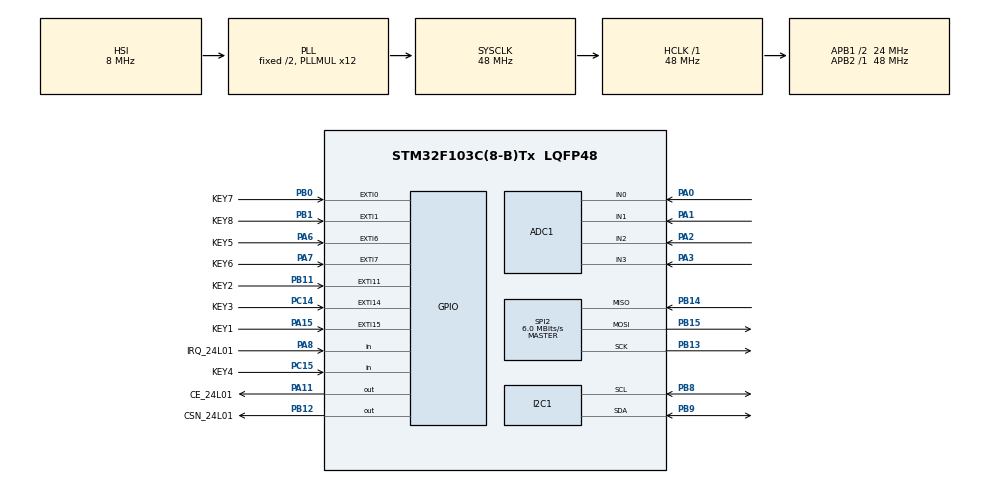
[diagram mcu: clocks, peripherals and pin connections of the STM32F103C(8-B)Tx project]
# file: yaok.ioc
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ADC1.Channel-0\#ChannelRegularConversion=ADC_CHANNEL_0
ADC1.Channel-2\#ChannelRegularConversion=ADC_CHANNEL_1
ADC1.Channel-3\#ChannelRegularConversion=ADC_CHANNEL_2
ADC1.Channel-4\#ChannelRegularConversion=ADC_CHANNEL_3
ADC1.ContinuousConvMode=ENABLE
ADC1.ExternalTrigConv=ADC_SOFTWARE_START
ADC1.NbrOfConversion=4
ADC1.NbrOfConversionFlag=1
ADC1.Rank-0\#ChannelRegularConversion=1
ADC1.Rank-2\#ChannelRegularConversion=2
ADC1.Rank-3\#ChannelRegularConversion=3
ADC1.Rank-4\#ChannelRegularConversion=4
ADC1.SamplingTime-0\#ChannelRegularConversion=ADC_SAMPLETIME_239CYCLES_5
ADC1.SamplingTime-2\#ChannelRegularConversion=ADC_SAMPLETIME_239CYCLES_5
ADC1.SamplingTime-3\#ChannelRegularConversion=ADC_SAMPLETIME_239CYCLES_5
ADC1.SamplingTime-4\#ChannelRegularConversion=ADC_SAMPLETIME_239CYCLES_5
ADC1.master=1
Dma.ADC1.0.Direction=DMA_PERIPH_TO_MEMORY
Dma.ADC1.0.Instance=DMA1_Channel1
Dma.ADC1.0.MemDataAlignment=DMA_MDATAALIGN_HALFWORD
Dma.ADC1.0.MemInc=DMA_MINC_ENABLE
Dma.ADC1.0.Mode=DMA_CIRCULAR
Dma.ADC1.0.PeriphDataAlignment=DMA_PDATAALIGN_HALFWORD
Dma.ADC1.0.PeriphInc=DMA_PINC_DISABLE
Dma.ADC1.0.Priority=DMA_PRIORITY_LOW
Dma.Request0=ADC1
Mcu.Family=STM32F1
Mcu.Name=STM32F103C(8-B)Tx
Mcu.Package=LQFP48
NVIC.DMA1_Channel1_IRQn=true\:0\:0\:false\:false\:true\:false\:true\:true
NVIC.EXTI0_IRQn=true\:0\:0\:false\:false\:true\:true\:true\:true
NVIC.EXTI15_10_IRQn=true\:0\:0\:false\:false\:true\:true\:true\:true
NVIC.EXTI1_IRQn=true\:0\:0\:false\:false\:true\:true\:true\:true
NVIC.EXTI9_5_IRQn=true\:0\:0\:false\:false\:true\:true\:true\:true
NVIC.PriorityGroup=NVIC_PRIORITYGROUP_4
PA0-WKUP.Signal=ADCx_IN0
PA1.Signal=ADCx_IN1
PA11.GPIO_Label=CE_24L01
PA11.GPIO_Speed=GPIO_SPEED_FREQ_HIGH
PA11.PinState=GPIO_PIN_RESET
PA11.Signal=GPIO_Output
PA13.Mode=Serial_Wire
PA13.Signal=SYS_JTMS-SWDIO
PA14.Mode=Serial_Wire
PA14.Signal=SYS_JTCK-SWCLK
PA15.GPIO_Label=KEY1
PA15.GPIO_ModeDefaultEXTI=GPIO_MODE_IT_FALLING
PA15.GPIO_PuPd=GPIO_PULLUP
PA15.Signal=GPXTI15
PA2.Signal=ADCx_IN2
PA3.Signal=ADCx_IN3
PA6.GPIO_Label=KEY5
PA6.GPIO_ModeDefaultEXTI=GPIO_MODE_IT_FALLING
PA6.GPIO_PuPd=GPIO_PULLUP
PA6.Signal=GPXTI6
PA7.GPIO_Label=KEY6
PA7.GPIO_ModeDefaultEXTI=GPIO_MODE_IT_FALLING
PA7.GPIO_PuPd=GPIO_PULLUP
PA7.Signal=GPXTI7
PA8.GPIO_Label=IRQ_24L01
PA8.GPIO_PuPd=GPIO_PULLUP
PA8.Signal=GPIO_Input
PB0.GPIO_Label=KEY7
PB0.GPIO_ModeDefaultEXTI=GPIO_MODE_IT_FALLING
PB0.GPIO_PuPd=GPIO_PULLUP
PB0.Signal=GPXTI0
PB1.GPIO_Label=KEY8
PB1.GPIO_ModeDefaultEXTI=GPIO_MODE_IT_FALLING
PB1.GPIO_PuPd=GPIO_PULLUP
PB1.Signal=GPXTI1
PB11.GPIO_Label=KEY2
PB11.GPIO_ModeDefaultEXTI=GPIO_MODE_IT_FALLING
PB11.GPIO_PuPd=GPIO_PULLUP
PB11.Signal=GPXTI11
PB12.GPIO_Label=CSN_24L01
PB12.GPIO_Speed=GPIO_SPEED_FREQ_HIGH
PB12.PinState=GPIO_PIN_SET
PB12.Signal=GPIO_Output
PB13.Mode=Full_Duplex_Master
PB13.Signal=SPI2_SCK
PB14.Mode=Full_Duplex_Master
PB14.Signal=SPI2_MISO
PB15.Mode=Full_Duplex_Master
PB15.Signal=SPI2_MOSI
PB8.Mode=I2C
PB8.Signal=I2C1_SCL
PB9.Mode=I2C
PB9.Signal=I2C1_SDA
PC14-OSC32_IN.GPIO_Label=KEY3
PC14-OSC32_IN.GPIO_ModeDefaultEXTI=GPIO_MODE_IT_FALLING
PC14-OSC32_IN.GPIO_PuPd=GPIO_PULLUP
PC14-OSC32_IN.Signal=GPXTI14
PC15-OSC32_OUT.GPIO_Label=KEY4
PC15-OSC32_OUT.GPIO_PuPd=GPIO_PULLUP
PC15-OSC32_OUT.Signal=GPIO_Input
PD0-OSC_IN.Mode=HSE-External-Clock-Source
PD0-OSC_IN.Signal=RCC_OSC_IN
PD1-OSC_OUT.Mode=HSE-External-Clock-Source
PD1-OSC_OUT.Signal=RCC_OSC_OUT
ProjectManager.HeapSize=0x800
ProjectManager.StackSize=0x800
ProjectManager.TargetToolchain=MDK-ARM V5.32
RCC.ADCPresc=RCC_ADCPCLK2_DIV4
RCC.AHBFreq_Value=48000000
RCC.APB1CLKDivider=RCC_HCLK_DIV2
RCC.APB1Freq_Value=24000000
RCC.APB1TimFreq_Value=48000000
RCC.APB2Freq_Value=48000000
RCC.APB2TimFreq_Value=48000000
RCC.HCLKFreq_Value=48000000
RCC.PLLMUL=RCC_PLL_MUL12
RCC.SYSCLKFreq_VALUE=48000000
RCC.SYSCLKSource=RCC_SYSCLKSOURCE_PLLCLK
RCC.USBFreq_Value=48000000
SH.ADCx_IN0.0=ADC1_IN0,IN0
SH.ADCx_IN1.0=ADC1_IN1,IN1
SH.ADCx_IN2.0=ADC1_IN2,IN2
SH.ADCx_IN3.0=ADC1_IN3,IN3
SPI2.BaudRatePrescaler=SPI_BAUDRATEPRESCALER_4
SPI2.CalculateBaudRate=6.0 MBits/s
SPI2.Direction=SPI_DIRECTION_2LINES
SPI2.Mode=SPI_MODE_MASTER
SPI2.VirtualType=VM_MASTER
board=custom

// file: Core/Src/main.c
/* USER CODE BEGIN Header */
/**
  ******************************************************************************
  * @file           : main.c
  * @brief          : Main program body
  ******************************************************************************
  * @attention
  *
  * Copyright (c) 2024 STMicroelectronics.
  * All rights reserved.
  *
  * This software is licensed under terms that can be found in the LICENSE file
  * in the root directory of this software component.
  * If no LICENSE file comes with this software, it is provided AS-IS.
  *
  ******************************************************************************
  */
/* USER CODE END Header */
#include "main.h"
#include "adc.h"
#include "dma.h"
#include "i2c.h"
#include "spi.h"
#include "gpio.h"

/* USER CODE BEGIN Includes */
#include "oled.h"
#include "NF.h"
#include "math.h"
#define PI 3.14159265
/* USER CODE END Includes */

/* USER CODE BEGIN PV */
 uint16_t ADC_Value;
    uint16_t  adc_buff[4];
/* USER CODE END PV */

void SystemClock_Config(void);
/* USER CODE BEGIN PFP */
extern unsigned char INIT_ADDR[5]= {0x00,0x1A,0xB1,0xB1,0x01}; //�ڵ��ַ
/* USER CODE END PFP */

/* USER CODE BEGIN 0 */
       int k=1;
int c=1;
int key3=0;
int key1=32;//配置按键8按下进行下一步操作
int key8=32;//配置按键8按下进行下一步操作
int key5=0;
int key7=0;
int key2=0;
int key4=0;
uint8_t array[40] ; //第一位接收不到
int yaw1=0;
int yaw2=0;
int key6=0, key6_stuas=0;
float yaw=0;

/* USER CODE END 0 */

int main(void)
{

  /* MCU Configuration--------------------------------------------------------*/

  /* Reset of all peripherals, Initializes the Flash interface and the Systick. */
  HAL_Init();

  /* Configure the system clock */
  SystemClock_Config();

  /* Initialize all configured peripherals */
  MX_GPIO_Init();
  MX_DMA_Init();
  MX_I2C1_Init();
  MX_ADC1_Init();
  MX_SPI2_Init();
  /* USER CODE BEGIN 2 */

   while(NRF24L01_Check())
	{

		k=0;
 		HAL_Delay(1000);
	}

	 OLED_Init();

   NRF24L01_TX_Mode();//设置为发送模式

  /* USER CODE END 2 */

  /* Infinite loop */
  while (1)
  {

    /* USER CODE BEGIN 3 */

	  k++;
	  //W_MOSI(1);
	   //OLED_ShowNum(0,0,20,4,16);

		HAL_ADC_Start_DMA(&hadc1, (uint32_t *)adc_buff, 4);

	if(key6==1){array[27]=1;key6_stuas=1; HAL_Delay(2); }
		if(key6==0){array[27]=0;}

		if(HAL_GPIO_ReadPin(GPIOC,GPIO_PIN_15)==GPIO_PIN_RESET)
		{
		   HAL_Delay(20);
		   if(HAL_GPIO_ReadPin(GPIOC,GPIO_PIN_15)==GPIO_PIN_RESET)
		{

			key4=1;
			key7=0;
		}

		}

     if(key6_stuas==1){
		 if(NRF24L01_TxPacket(array)==TX_OK)
    {
      c=3;
    }
    else
    {
        c=2;
    } }
      if(key4==1&&key7==0){array[29]=1;}
		if(key7==1&&key4==0){array[29]=0;}

	  if(key1==1&&key2==0){array[28]=1;
							array[20]=2;}
	    if(key1==0&&key2==1){array[28]=0;array[20]=1;}
	   if(key3==1){
		array[30]=7;

	  for(int g=0;g<=4;g++)
	  {

		  array[g+1] = adc_buff[g]/20;

	  }
	     HAL_Delay(2);

      if(NRF24L01_TxPacket(array)==TX_OK)
    {
      c=3;
    }
    else
    {
        c=2;
    }

		}

	  if(key8==1){
		array[30]=6;
	  for(int g=0;g<=4;g++)
	  {

		  array[g+1] = adc_buff[g]/20;

	  }
	     HAL_Delay(2);

      if(NRF24L01_TxPacket(array)==TX_OK)
    {
      c=3;
    }
    else
    {
        c=2;
    }

		}

  }

  /* USER CODE END 3 */
}

void SystemClock_Config(void)
{
  RCC_OscInitTypeDef RCC_OscInitStruct = {0};
  RCC_ClkInitTypeDef RCC_ClkInitStruct = {0};
  RCC_PeriphCLKInitTypeDef PeriphClkInit = {0};

  /** Initializes the RCC Oscillators according to the specified parameters
  * in the RCC_OscInitTypeDef structure.
  */
  RCC_OscInitStruct.OscillatorType = RCC_OSCILLATORTYPE_HSI;
  RCC_OscInitStruct.HSIState = RCC_HSI_ON;
  RCC_OscInitStruct.HSICalibrationValue = RCC_HSICALIBRATION_DEFAULT;
  RCC_OscInitStruct.PLL.PLLState = RCC_PLL_ON;
  RCC_OscInitStruct.PLL.PLLSource = RCC_PLLSOURCE_HSI_DIV2;
  RCC_OscInitStruct.PLL.PLLMUL = RCC_PLL_MUL12;
  if (HAL_RCC_OscConfig(&RCC_OscInitStruct) != HAL_OK)
  {
    Error_Handler();
  }

  /** Initializes the CPU, AHB and APB buses clocks
  */
  RCC_ClkInitStruct.ClockType = RCC_CLOCKTYPE_HCLK|RCC_CLOCKTYPE_SYSCLK
                              |RCC_CLOCKTYPE_PCLK1|RCC_CLOCKTYPE_PCLK2;
  RCC_ClkInitStruct.SYSCLKSource = RCC_SYSCLKSOURCE_PLLCLK;
  RCC_ClkInitStruct.AHBCLKDivider = RCC_SYSCLK_DIV1;
  RCC_ClkInitStruct.APB1CLKDivider = RCC_HCLK_DIV2;
  RCC_ClkInitStruct.APB2CLKDivider = RCC_HCLK_DIV1;

  if (HAL_RCC_ClockConfig(&RCC_ClkInitStruct, FLASH_LATENCY_1) != HAL_OK)
  {
    Error_Handler();
  }
  PeriphClkInit.PeriphClockSelection = RCC_PERIPHCLK_ADC;
  PeriphClkInit.AdcClockSelection = RCC_ADCPCLK2_DIV4;
  if (HAL_RCCEx_PeriphCLKConfig(&PeriphClkInit) != HAL_OK)
  {
    Error_Handler();
  }
}

/* USER CODE BEGIN 4 */
void HAL_DMA_ConcludeCallback(DMA_HandleTypeDef *hdma)
{
    if(hdma->Instance == DMA1_Channel1)
    {
		     OLED_ShowNum(0,0,3,4,16);
         HAL_ADC_Stop_DMA(&hadc1);
    }
}
void delay_us(uint32_t udelay)
{
  uint32_t startval,tickn,delays,wait;

  startval = SysTick->VAL;
  tickn = HAL_GetTick();
  //sysc = 72000;  //SystemCoreClock / (1000U / uwTickFreq);
  delays =udelay * 48; //sysc / 1000 * udelay;
  if(delays > startval)
    {
      while(HAL_GetTick() == tickn)
        {

        }
      wait = 48000 + startval - delays;
      while(wait < SysTick->VAL)
        {

        }
    }
  else
    {
      wait = startval - delays;
      while(wait < SysTick->VAL && HAL_GetTick() == tickn)
        {

        }
    }
}
//按键中断

void HAL_GPIO_EXTI_Callback(uint16_t GPIO_Pin)
{
	if(GPIO_Pin==KEY1_Pin)
  {
	  if(HAL_GPIO_ReadPin(KEY1_GPIO_Port,KEY1_Pin)==GPIO_PIN_RESET)
    {
	   key1=1;
		key2=0;
	}
	__HAL_GPIO_EXTI_CLEAR_IT(KEY1_Pin);
  }
	 if(GPIO_Pin==KEY2_Pin)
  {
	  if(HAL_GPIO_ReadPin(KEY2_GPIO_Port,KEY2_Pin)==GPIO_PIN_RESET)
    {
	   key1=0;
		key2=1;
	}
	__HAL_GPIO_EXTI_CLEAR_IT(KEY2_Pin);
  }
	if(GPIO_Pin==KEY3_Pin)
  {
	  if(HAL_GPIO_ReadPin(KEY3_GPIO_Port,KEY3_Pin)==GPIO_PIN_RESET)
    {
	    key3=1;
	   key8=0;
	}
	__HAL_GPIO_EXTI_CLEAR_IT(KEY3_Pin);

  }
  if(GPIO_Pin==KEY8_Pin)
  {

    if(HAL_GPIO_ReadPin(KEY8_GPIO_Port,KEY8_Pin)==GPIO_PIN_RESET)
    {

	key8=1;
	key3=0;

    }
    __HAL_GPIO_EXTI_CLEAR_IT(KEY8_Pin);
  }
//   if(GPIO_Pin==KEY5_Pin)
//  {
//
//    if(HAL_GPIO_ReadPin(KEY5_GPIO_Port,KEY5_Pin)==GPIO_PIN_RESET)
//    {
//
//	key5=1;
//	key7=0;
//    }
//    __HAL_GPIO_EXTI_CLEAR_IT(KEY5_Pin);
//  }
   if(GPIO_Pin==KEY7_Pin)
  {

    if(HAL_GPIO_ReadPin(KEY7_GPIO_Port,KEY7_Pin)==GPIO_PIN_RESET)
    {
		key4=0;
	key7=1;

    }
    __HAL_GPIO_EXTI_CLEAR_IT(KEY7_Pin);
  }

   if(GPIO_Pin==KEY6_Pin)
  {

    if(HAL_GPIO_ReadPin(KEY6_GPIO_Port,KEY6_Pin)==GPIO_PIN_RESET)
    {
		// key6++;
			if(key6==0){key6=1;}
			else if(key6==1){key6=0;}

    }
    __HAL_GPIO_EXTI_CLEAR_IT(KEY6_Pin);
  }

}
/* USER CODE END 4 */

void Error_Handler(void)
{
  __disable_irq();
  while (1)
  {
  }
}
